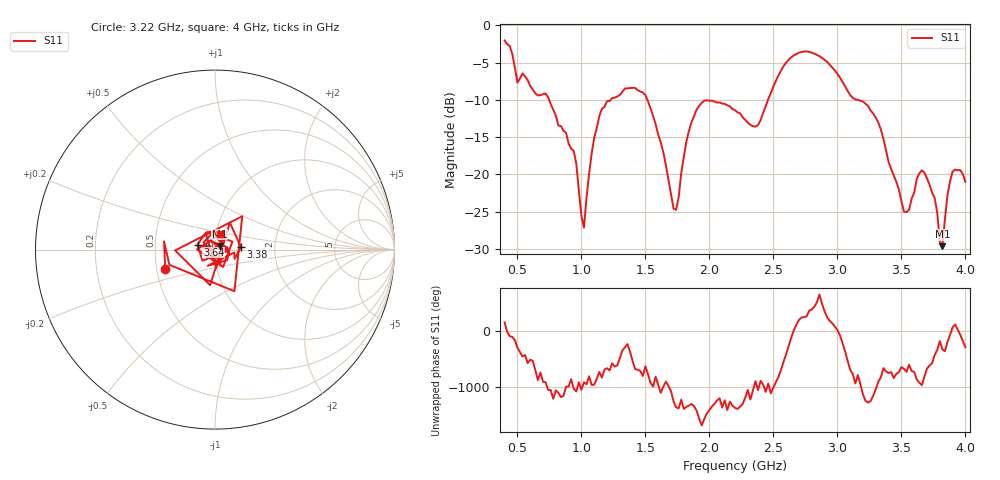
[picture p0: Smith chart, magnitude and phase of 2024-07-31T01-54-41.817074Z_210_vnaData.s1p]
!Created with skrf (http://scikit-rf.org).
# Hz S RI R 50.0
!freq ReS11 ImS11
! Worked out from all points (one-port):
!   181 points, 400 MHz to 4 GHz, reference 50 ohm
!   lowest |S11| = -29.6 dB at 3.82 GHz (marker M1), VSWR 1.07, Z = 52.7 + j2.08 ohm
!   |S11| at or under -10 dB: 747.6 MHz to 1.228 GHz (480.6 MHz wide, 48.6 % of centre); 1.516 GHz to 2.458 GHz (941.9 MHz wide, 47.4 % of centre); 3.156 GHz to end of sweep
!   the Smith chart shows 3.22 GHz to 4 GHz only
!   S11 on the Smith chart (normalised r, x): 3.22 GHz: 0.55, -0.13; 3.38 GHz: 1.34, +0.04; 3.64 GHz: 0.82, +0.05; 4 GHz: 1.04, +0.18
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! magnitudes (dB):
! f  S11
! 400 MHz  -2.0
! 500 MHz  -7.7
! 720 MHz  -9.1
! 860 MHz  -14.2
! 940 MHz  -16.9
! 1.02 GHz  -27.2
! 1.08 GHz  -17.2
! 1.14 GHz  -12.2
! 1.3 GHz  -9.3
! 1.5 GHz  -9.4
! 1.72 GHz  -24.6
! 1.76 GHz  -23.1
! 1.82 GHz  -15.6
! 1.9 GHz  -11.3
! 2.2 GHz  -11.4
! 2.38 GHz  -13.4
! 2.66 GHz  -4.0
! 2.88 GHz  -4.4
! 3.1 GHz  -9.4
! 3.22 GHz  -10.5
! 3.38 GHz  -16.8
! 3.52 GHz  -25.0
! 3.56 GHz  -24.8
! 3.64 GHz  -19.9
! 3.76 GHz  -23.2
! 3.82 GHz  -29.6
! 3.9 GHz  -19.6
! 4 GHz  -21.0
